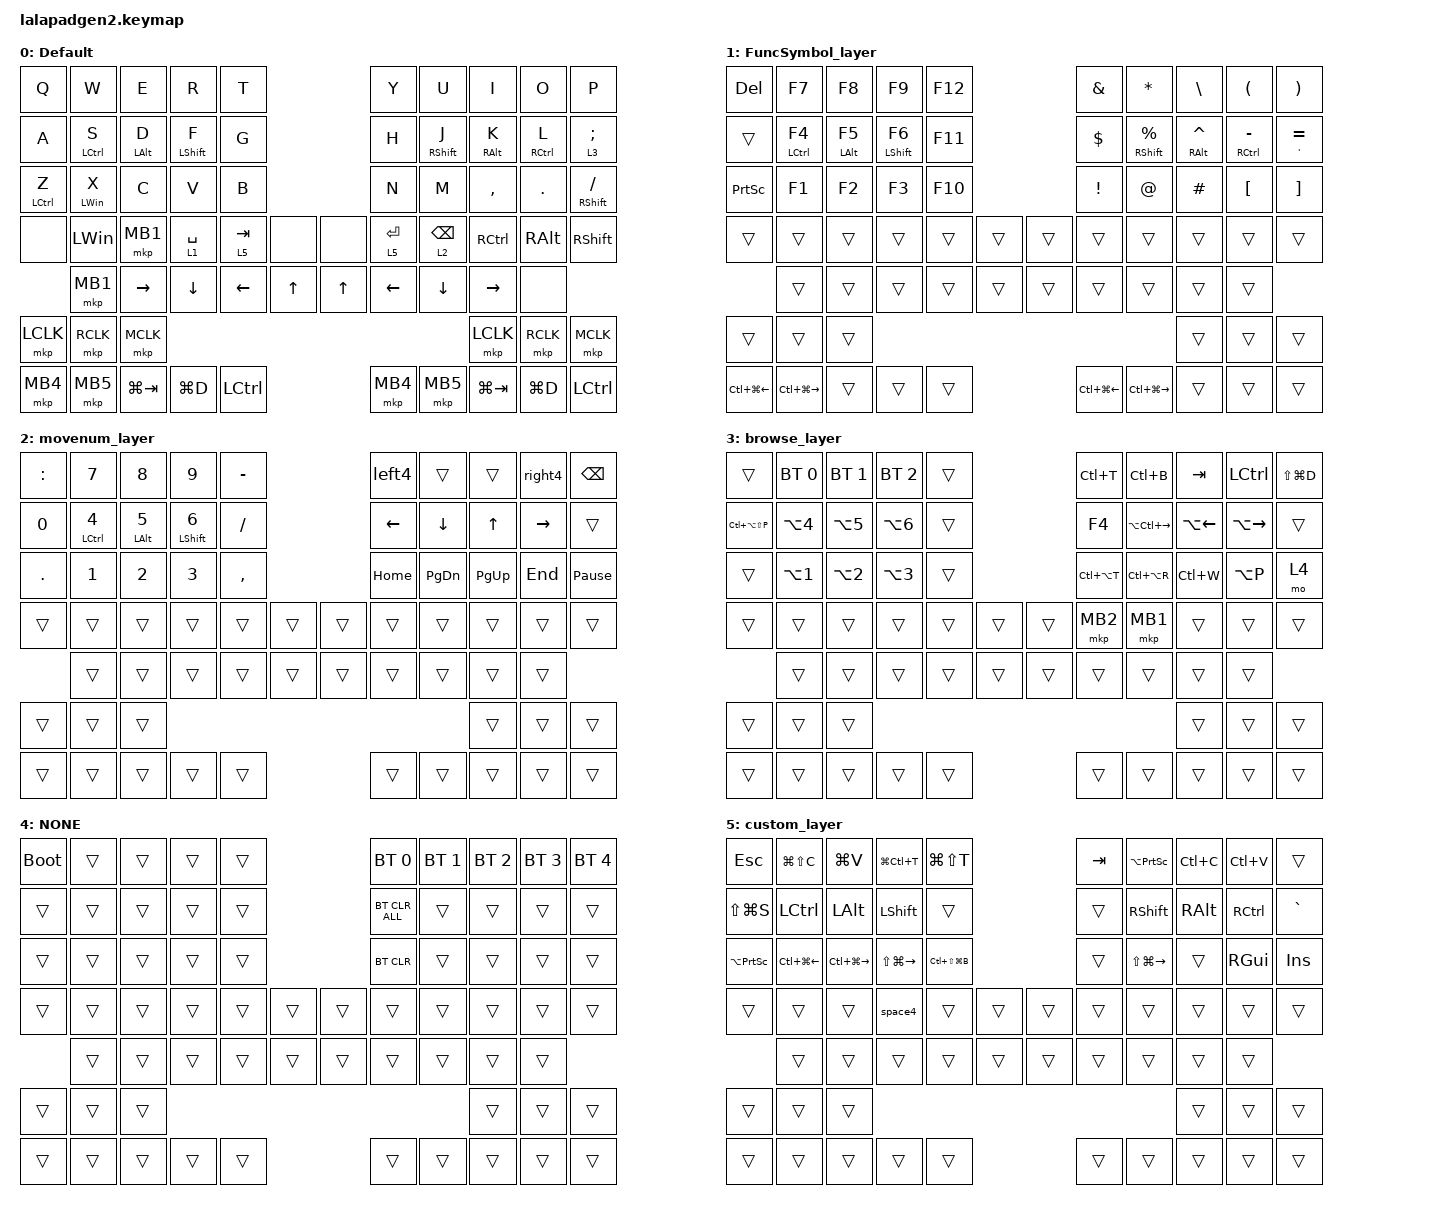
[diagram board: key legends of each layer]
#include <input/processors.dtsi>
#include <dt-bindings/zmk/zip_dynamic_scale.h>
#include <behaviors.dtsi>
#include <dt-bindings/zmk/bt.h>
#include <dt-bindings/zmk/keys.h>
#include <dt-bindings/zmk/pointing.h>

#define DEFAULT_LAYER   0
#define SECONDARY_LAYER 1
#define TERTIARY_LAYER  2
#define SYSTEM_LAYER    3

&mt {
    quick-tap-ms = <300>;
    flavor = "balanced";
};

&lt {
    quick-tap-ms = <300>;
    tapping-term-ms = <150>;
    flavor = "tap-preferred";
};

/ {
    behaviors {
        zip_dyn_scale: zip_dyn_scale {
            compatible = "zmk,behavior-zip-dynamic-scale";
            #binding-cells = <2>;
        };

        zip_dyn_scale_set: zip_dyn_scale_set {
            compatible = "zmk,behavior-zip-dynamic-scale-set";
            #binding-cells = <2>;
        };

        mt2: mod_tap2 {
            compatible = "zmk,behavior-hold-tap";
            #binding-cells = <2>;
            flavor = "tap-preferred";
            tapping-term-ms = <200>;
            quick-tap-ms = <200>;
            require-prior-idle-ms = <125>;
            bindings = <&kp>, <&kp>;
        };

        tap_dance_layer_1and2: tap_dance_layer_1and2 {
            compatible = "zmk,behavior-tap-dance";
            label = "td_mo12";
            #binding-cells = <0>;
            bindings = <&mo 1>, <&mo 2>;
        };
    };

    combos {
        compatible = "zmk,combos";

        CONBO_ESC {
            bindings = <&kp ESCAPE>;
            key-positions = <0 1>;
        };

        cmb_minus {
            bindings = <&kp MINUS>;
            key-positions = <18 19>;
        };

        cmb_single {
            bindings = <&kp SQT>;
            key-positions = <28 29>;
        };

        cmb_jp {
            bindings = <&kp LANG1>;
            key-positions = <26 27>;
        };

        cmb_eng {
            bindings = <&kp LANG2>;
            key-positions = <23 22>;
        };

        cmb_mb2 {
            bindings = <&mkp MB2>;
            key-positions = <13 12>;
        };

        cmb_mb3 {
            bindings = <&mkp MB3>;
            key-positions = <20 21>;
        };
    };

    macros {
        space4: space4 {
            compatible = "zmk,behavior-macro";
            #binding-cells = <0>;
            bindings = <&kp SPACE &kp SPACE &kp SPACE &kp SPACE>;
            label = "SPACE4";
        };

        left4: left4 {
            compatible = "zmk,behavior-macro";
            #binding-cells = <0>;
            bindings = <&kp LEFT &kp LEFT &kp LEFT &kp LEFT>;
            label = "LEFT4";
        };

        right4: right4 {
            compatible = "zmk,behavior-macro";
            #binding-cells = <0>;
            bindings = <&kp RIGHT &kp RIGHT &kp RIGHT &kp RIGHT>;
            label = "RIGHT4";
        };
    };

    keymap {
        compatible = "zmk,keymap";

        DEFAULT_LAYER {
            display-name = "Default";
            bindings = <
&kp Q         &kp W            &kp E            &kp R          &kp T                      &kp Y        &kp U            &kp I             &kp O          &kp P
&kp A         &mt2 LCTRL S     &mt2 LEFT_ALT D  &mt2 LSHIFT F  &kp G                      &kp H        &mt2 RSHIFT J    &mt2 RIGHT_ALT K  &mt2 RCTRL L   &lt 3 SEMICOLON
&mt2 LCTRL Z  &mt2 LEFT_WIN X  &kp C            &kp V          &kp B                      &kp N        &kp M            &kp COMMA         &kp PERIOD     &mt2 RSHIFT SLASH
&none         &kp LWIN         &mkp MB1         &lt 1 SPACE    &lt 5 TAB  &none   &none   &lt 5 ENTER  &lt 2 BACKSPACE  &kp RCTRL         &kp RIGHT_ALT  &kp RSHIFT
              &mkp MB1         &kp RIGHT        &kp DOWN       &kp LEFT   &kp UP  &kp UP  &kp LEFT     &kp DOWN         &kp RIGHT         &none
&mkp LCLK     &mkp RCLK        &mkp MCLK                                                                                &mkp LCLK         &mkp RCLK      &mkp MCLK
&mkp MB4      &mkp MB5         &kp LG(TAB)      &kp LG(D)      &kp LCTRL                  &mkp MB4     &mkp MB5         &kp LG(TAB)       &kp LG(D)      &kp LCTRL
            >;
        };

        Func_Symbol {
            display-name = "FuncSymbol_layer";
            bindings = <
&kp DELETE        &kp F7             &kp F8            &kp F9          &kp F12                  &kp AMPERSAND     &kp ASTERISK         &kp BACKSLASH         &kp LEFT_PARENTHESIS  &kp RIGHT_PARENTHESIS
&trans            &mt2 LCTRL F4      &mt2 LEFT_ALT F5  &mt2 LSHIFT F6  &kp F11                  &kp DOLLAR        &mt2 RSHIFT PERCENT  &mt2 RIGHT_ALT CARET  &mt2 RCTRL MINUS      &mt2 SQT EQUAL
&kp PRINTSCREEN   &kp F1             &kp F2            &kp F3          &kp F10                  &kp EXCLAMATION   &kp AT_SIGN          &kp HASH              &kp LEFT_BRACKET      &kp RIGHT_BRACKET
&trans            &trans             &trans            &trans          &trans   &trans  &trans  &trans            &trans               &trans                &trans                &trans
                  &trans             &trans            &trans          &trans   &trans  &trans  &trans            &trans               &trans                &trans
&trans            &trans             &trans                                                                                            &trans                &trans                &trans
&kp LC(LG(LEFT))  &kp LC(LG(RIGHT))  &trans            &trans          &trans                   &kp LC(LG(LEFT))  &kp LC(LG(RIGHT))    &trans                &trans                &trans
            >;
        };

        Mobe_Num {
            display-name = "movenum_layer";
            bindings = <
&kp COLON   &kp N7               &kp N8            &kp N9                &kp MINUS                  &left4    &trans          &trans        &right4    &kp BACKSPACE
&kp N0      &mt2 LCTRL NUMBER_4  &mt2 LEFT_ALT N5  &mt2 LSHIFT NUMBER_6  &kp SLASH                  &kp LEFT  &kp DOWN_ARROW  &kp UP_ARROW  &kp RIGHT  &trans
&kp PERIOD  &kp NUMBER_1         &kp NUMBER_2      &kp NUMBER_3          &kp COMMA                  &kp HOME  &kp PAGE_DOWN   &kp PAGE_UP   &kp END    &kp PAUSE_BREAK
&trans      &trans               &trans            &trans                &trans     &trans  &trans  &trans    &trans          &trans        &trans     &trans
            &trans               &trans            &trans                &trans     &trans  &trans  &trans    &trans          &trans        &trans
&trans      &trans               &trans                                                                                       &trans        &trans     &trans
&trans      &trans               &trans            &trans                &trans                     &trans    &trans          &trans        &trans     &trans
            >;
        };

        Browse {
            display-name = "browse_layer";
            bindings = <
&trans             &bt BT_SEL 0  &bt BT_SEL 1  &bt BT_SEL 2  &trans                  &kp LC(T)      &kp LC(B)          &kp TAB       &kp LCTRL      &kp LS(LG(D))
&kp LC(LA(LS(P)))  &kp LA(N4)    &kp LA(N5)    &kp LA(N6)    &trans                  &kp F4         &kp LA(LC(RIGHT))  &kp LA(LEFT)  &kp LA(RIGHT)  &trans
&trans             &kp LA(N1)    &kp LA(N2)    &kp LA(N3)    &trans                  &kp LC(LA(T))  &kp LC(LA(R))      &kp LC(W)     &kp LA(P)      &mo 4
&trans             &trans        &trans        &trans        &trans  &trans  &trans  &mkp MB2       &mkp MB1           &trans        &trans         &trans
                   &trans        &trans        &trans        &trans  &trans  &trans  &trans         &trans             &trans        &trans
&trans             &trans        &trans                                                                                &trans        &trans         &trans
&trans             &trans        &trans        &trans        &trans                  &trans         &trans             &trans        &trans         &trans
            >;
        };

        NONE {
            bindings = <
&bootloader  &trans  &trans  &trans  &trans                  &bt BT_SEL 0    &bt BT_SEL 1  &bt BT_SEL 2  &bt BT_SEL 3  &bt BT_SEL 4
&trans       &trans  &trans  &trans  &trans                  &bt BT_CLR_ALL  &trans        &trans        &trans        &trans
&trans       &trans  &trans  &trans  &trans                  &bt BT_CLR      &trans        &trans        &trans        &trans
&trans       &trans  &trans  &trans  &trans  &trans  &trans  &trans          &trans        &trans        &trans        &trans
             &trans  &trans  &trans  &trans  &trans  &trans  &trans          &trans        &trans        &trans
&trans       &trans  &trans                                                                &trans        &trans        &trans
&trans       &trans  &trans  &trans  &trans                  &trans          &trans        &trans        &trans        &trans
            >;
        };

        Custom {
            bindings = <
&kp ESC              &kp LG(LS(C))     &kp LG(V)          &kp LG(LC(T))      &kp LG(LS(T))                      &kp TAB  &kp LA(PRINTSCREEN)  &kp LC(C)  &kp LC(V)  &trans
&kp LS(LG(S))        &kp LCTRL         &kp LALT           &kp LSHFT          &trans                             &trans   &kp RSHFT            &kp RALT   &kp RCTRL  &kp GRAVE
&kp LA(PRINTSCREEN)  &kp LC(LG(LEFT))  &kp LC(LG(RIGHT))  &kp LS(LG(RIGHT))  &kp LC(LS(LG(B)))                  &trans   &kp LS(LG(RIGHT))    &trans     &kp RGUI   &kp INS
&trans               &trans            &trans             &space4            &trans             &trans  &trans  &trans   &trans               &trans     &trans     &trans
                     &trans            &trans             &trans             &trans             &trans  &trans  &trans   &trans               &trans     &trans
&trans               &trans            &trans                                                                                                 &trans     &trans     &trans
&trans               &trans            &trans             &trans             &trans                             &trans   &trans               &trans     &trans     &trans
            >;

            label = "custom_layer";
        };
    };

    conditional_layers { compatible = "zmk,conditional-layers"; };
};
